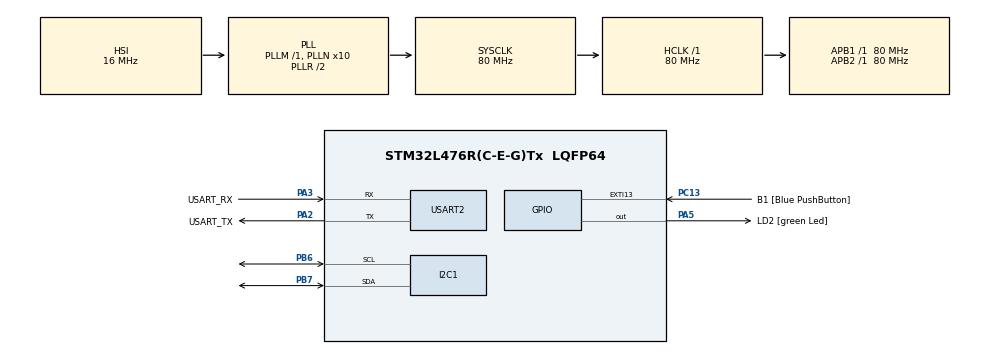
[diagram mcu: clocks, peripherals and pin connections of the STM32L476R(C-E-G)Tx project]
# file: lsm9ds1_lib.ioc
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I2C1.Timing=0x10D19CE4
Mcu.Family=STM32L4
Mcu.Name=STM32L476R(C-E-G)Tx
Mcu.Package=LQFP64
NVIC.PriorityGroup=NVIC_PRIORITYGROUP_4
NVIC.TIM6_DAC_IRQn=true\:0\:0\:false\:false\:true\:true\:true\:true
PA13\ (JTMS-SWDIO).GPIO_Label=TMS
PA13\ (JTMS-SWDIO).Mode=Serial_Wire
PA13\ (JTMS-SWDIO).Signal=SYS_JTMS-SWDIO
PA14\ (JTCK-SWCLK).GPIO_Label=TCK
PA14\ (JTCK-SWCLK).Mode=Serial_Wire
PA14\ (JTCK-SWCLK).Signal=SYS_JTCK-SWCLK
PA2.GPIO_Label=USART_TX
PA2.GPIO_Mode=GPIO_MODE_AF_PP
PA2.GPIO_PuPd=GPIO_NOPULL
PA2.GPIO_Speed=GPIO_SPEED_FREQ_VERY_HIGH
PA2.Mode=Asynchronous
PA2.Signal=USART2_TX
PA3.GPIO_Label=USART_RX
PA3.GPIO_Mode=GPIO_MODE_AF_PP
PA3.GPIO_PuPd=GPIO_NOPULL
PA3.GPIO_Speed=GPIO_SPEED_FREQ_VERY_HIGH
PA3.Mode=Asynchronous
PA3.Signal=USART2_RX
PA5.GPIO_Label=LD2 [green Led]
PA5.GPIO_ModeDefaultOutputPP=GPIO_MODE_OUTPUT_PP
PA5.GPIO_PuPd=GPIO_NOPULL
PA5.GPIO_Speed=GPIO_SPEED_FREQ_LOW
PA5.Signal=GPIO_Output
PB3\ (JTDO-TRACESWO).GPIO_Label=SWO
PB3\ (JTDO-TRACESWO).Signal=SYS_JTDO-SWO
PB6.Mode=I2C
PB6.Signal=I2C1_SCL
PB7.Mode=I2C
PB7.Signal=I2C1_SDA
PC13.GPIO_Label=B1 [Blue PushButton]
PC13.GPIO_ModeDefaultEXTI=GPIO_MODE_IT_FALLING
PC13.GPIO_PuPd=GPIO_NOPULL
PC13.Signal=GPXTI13
PC14-OSC32_IN\ (PC14).Mode=LSE-External-Oscillator
PC14-OSC32_IN\ (PC14).Signal=RCC_OSC32_IN
PC15-OSC32_OUT\ (PC15).Mode=LSE-External-Oscillator
PC15-OSC32_OUT\ (PC15).Signal=RCC_OSC32_OUT
PH0-OSC_IN\ (PH0).Signal=RCC_OSC_IN
PH1-OSC_OUT\ (PH1).Signal=RCC_OSC_OUT
ProjectManager.HeapSize=0x200
ProjectManager.StackSize=0x400
ProjectManager.TargetToolchain=STM32CubeIDE
RCC.ADCFreq_Value=64000000
RCC.AHBFreq_Value=80000000
RCC.APB1Freq_Value=80000000
RCC.APB1TimFreq_Value=80000000
RCC.APB2Freq_Value=80000000
RCC.APB2TimFreq_Value=80000000
RCC.CortexFreq_Value=80000000
RCC.HCLKFreq_Value=80000000
RCC.HSE_VALUE=8000000
RCC.HSI_VALUE=16000000
RCC.MSI_VALUE=4000000
RCC.PLLN=10
RCC.PLLSourceVirtual=RCC_PLLSOURCE_HSI
RCC.PREFETCH_ENABLE=1
RCC.SYSCLKFreq_VALUE=80000000
RCC.SYSCLKSource=RCC_SYSCLKSOURCE_PLLCLK
RCC.USBFreq_Value=64000000
RCC.VCOOutputFreq_Value=160000000
TIM6.Period=49999
TIM6.Prescaler=15
USART2.VirtualMode-Asynchronous=VM_ASYNC
VP_TIM6_VS_ClockSourceINT.Mode=Enable_Timer
board=NUCLEO-L476RG

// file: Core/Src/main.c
/* USER CODE BEGIN Header */
/**
  ******************************************************************************
  * @file           : main.c
  * @brief          : Main program body
  ******************************************************************************
  * @attention
  *
  * Copyright (c) 2024 STMicroelectronics.
  * All rights reserved.
  *
  * This software is licensed under terms that can be found in the LICENSE file
  * in the root directory of this software component.
  * If no LICENSE file comes with this software, it is provided AS-IS.
  *
  ******************************************************************************
  */
/* USER CODE END Header */
#include "main.h"
#include "i2c.h"
#include "tim.h"
#include "usart.h"
#include "gpio.h"

/* USER CODE BEGIN Includes */
#include "lsm9ds1_lib.h"

#include "stdio.h"

/* USER CODE END Includes */

/* USER CODE BEGIN PV */
uint8_t IMU_flag = 0;
uint8_t check = 0;
//IMU_t IMU;

uint8_t Buffer[25] = {0};
uint8_t Space[] = " - ";
uint8_t StartMSG[] = "Starting I2C Scanning: \r\n";
uint8_t EndMSG[] = "Done! \r\n\r\n";

uint8_t i = 0, ret;

/* USER CODE END PV */

void SystemClock_Config(void);

int main(void)
{

  /* MCU Configuration--------------------------------------------------------*/

  /* Reset of all peripherals, Initializes the Flash interface and the Systick. */
  HAL_Init();

  /* Configure the system clock */
  SystemClock_Config();

  /* Initialize all configured peripherals */
  MX_GPIO_Init();
  MX_USART2_UART_Init();
  MX_I2C1_Init();
  MX_TIM6_Init();
  /* USER CODE BEGIN 2 */
  HAL_TIM_Base_Start_IT(&htim6);

  /* USER CODE END 2 */

  /* Infinite loop */
  /* USER CODE BEGIN WHILE */

  /*-[ I2C Bus Scanning ]-*/
  HAL_UART_Transmit(&huart2, StartMSG, sizeof(StartMSG), 10000);
  for(i=1; i<128; i++)
  {
      ret = HAL_I2C_IsDeviceReady(&hi2c1, (uint16_t)(i<<1), 3, 5);
      if (ret != HAL_OK) /* No ACK Received At That Address */
      {
          HAL_UART_Transmit(&huart2, Space, sizeof(Space), 10000);
      }
      else if(ret == HAL_OK)
      {
          sprintf(Buffer, "0x%X", i);
          check = i;
          HAL_UART_Transmit(&huart2, Buffer, sizeof(Buffer), 10000);
      }
  }
  HAL_UART_Transmit(&huart2, EndMSG, sizeof(EndMSG), 10000);
  /*--[ Scanning Done ]--*/
    HAL_GPIO_TogglePin (GPIOA, GPIO_PIN_5);

//  while(LSM9DS1_Init_AccelGyro(&hi2c1) != 0)
//  HAL_GPIO_TogglePin (GPIOA, GPIO_PIN_5);
//
//  check = LSM9DS1_Init_AccelGyro(&hi2c1);

  while (1)
  {
    /* USER CODE END WHILE */

    /* USER CODE BEGIN 3 */
//	  if(IMU_flag){
//		  LSM9DS1_Read_Accel(&hi2c1, &IMU);
//		  LSM9DS1_Read_Gyro(&hi2c1, &IMU);
////		  LSM9DS1_Read_Mag(&hi2c1, &IMU);
//		  Normalize_Accel_Values(&IMU);
//		  Normalize_Gyro_Values(&IMU);
////		  Normalize_Mag_Values(&IMU);
//		  IMU_flag = 0;
//	  }

  }
  /* USER CODE END 3 */
}

void SystemClock_Config(void)
{
  RCC_OscInitTypeDef RCC_OscInitStruct = {0};
  RCC_ClkInitTypeDef RCC_ClkInitStruct = {0};

  /** Configure the main internal regulator output voltage
  */
  if (HAL_PWREx_ControlVoltageScaling(PWR_REGULATOR_VOLTAGE_SCALE1) != HAL_OK)
  {
    Error_Handler();
  }

  /** Initializes the RCC Oscillators according to the specified parameters
  * in the RCC_OscInitTypeDef structure.
  */
  RCC_OscInitStruct.OscillatorType = RCC_OSCILLATORTYPE_HSI;
  RCC_OscInitStruct.HSIState = RCC_HSI_ON;
  RCC_OscInitStruct.HSICalibrationValue = RCC_HSICALIBRATION_DEFAULT;
  RCC_OscInitStruct.PLL.PLLState = RCC_PLL_ON;
  RCC_OscInitStruct.PLL.PLLSource = RCC_PLLSOURCE_HSI;
  RCC_OscInitStruct.PLL.PLLM = 1;
  RCC_OscInitStruct.PLL.PLLN = 10;
  RCC_OscInitStruct.PLL.PLLP = RCC_PLLP_DIV7;
  RCC_OscInitStruct.PLL.PLLQ = RCC_PLLQ_DIV2;
  RCC_OscInitStruct.PLL.PLLR = RCC_PLLR_DIV2;
  if (HAL_RCC_OscConfig(&RCC_OscInitStruct) != HAL_OK)
  {
    Error_Handler();
  }

  /** Initializes the CPU, AHB and APB buses clocks
  */
  RCC_ClkInitStruct.ClockType = RCC_CLOCKTYPE_HCLK|RCC_CLOCKTYPE_SYSCLK
                              |RCC_CLOCKTYPE_PCLK1|RCC_CLOCKTYPE_PCLK2;
  RCC_ClkInitStruct.SYSCLKSource = RCC_SYSCLKSOURCE_PLLCLK;
  RCC_ClkInitStruct.AHBCLKDivider = RCC_SYSCLK_DIV1;
  RCC_ClkInitStruct.APB1CLKDivider = RCC_HCLK_DIV1;
  RCC_ClkInitStruct.APB2CLKDivider = RCC_HCLK_DIV1;

  if (HAL_RCC_ClockConfig(&RCC_ClkInitStruct, FLASH_LATENCY_4) != HAL_OK)
  {
    Error_Handler();
  }
}

/* USER CODE BEGIN 4 */
void HAL_TIM_PeriodElapsedCallback(TIM_HandleTypeDef *htim)
{
    if(htim == &htim6)
    {
        IMU_flag=1;
    }
}
/* USER CODE END 4 */

void Error_Handler(void)
{
  __disable_irq();
  while (1)
  {
  }
}
